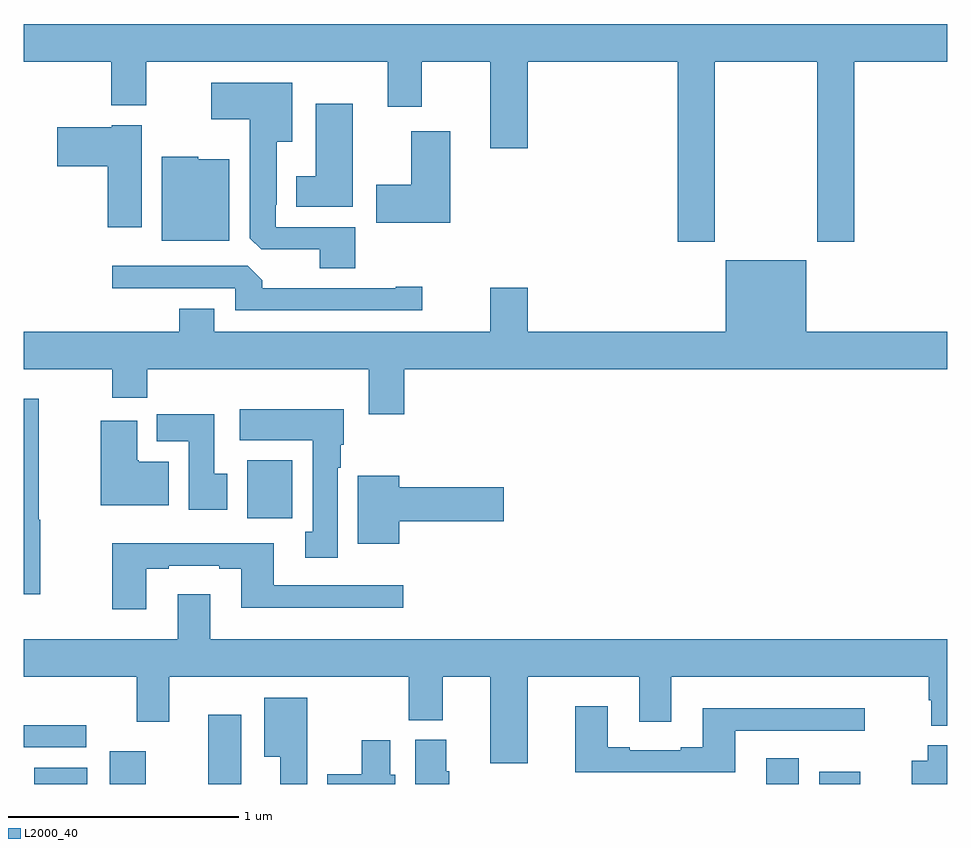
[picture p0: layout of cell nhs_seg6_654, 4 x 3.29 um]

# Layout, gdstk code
import gdstk
lib = gdstk.Library(unit=1e-6, precision=1e-09)
def R(c, l, rs):  # rectangles x0, y0, x1, y1
    for r in rs: c.add(gdstk.rectangle(r[:2], r[2:], *l))
def P(c, l, *ps):  # polygons
    for p in ps: c.add(gdstk.Polygon(p, *l))
L2000_40 = (2000, 40)

nhs_seg6_654 = lib.new_cell('nhs_seg6_654')
R(nhs_seg6_654, L2000_40, [(151.046,985.5,151.276,985.57), (151.373,985.5,151.528,985.642), (151.799,985.5,151.942,985.801), (154.217,985.5,154.357,985.612), (154.445,985.5,154.624,985.552), (151,985.659,151.27,985.755), (151.967,986.652,152.163,986.902)])
P(nhs_seg6_654, L2000_40, [(153.993,988.628),(154.438,988.628),(154.438,987.849),(154.598,987.849),(154.598,988.628),(155,988.628),(155,988.792),(151,988.792),(151,988.628),(151.379,988.628),(151.379,988.439),(151.531,988.439),(151.531,988.628),(152.576,988.628),(152.576,988.434),(152.724,988.434),(152.724,988.628),(153.02,988.628),(153.02,988.254),(153.184,988.254),(153.184,988.628),(153.833,988.628),(153.833,987.849),(153.993,987.849)],
  [(152.435,987.912),(152.091,987.912),(152.091,988.009),(152.095,988.009),(152.095,988.283),(152.164,988.283),(152.164,988.537),(151.812,988.537),(151.812,988.379),(151.979,988.379),(151.979,987.865),(152.028,987.816),(152.282,987.816),(152.282,987.733),(152.435,987.733)],
  [(152.425,988.447),(152.264,988.447),(152.264,988.132),(152.18,988.132),(152.18,988.001),(152.425,988.001)],
  [(151.51,988.354),(151.38,988.354),(151.38,988.345),(151.146,988.345),(151.146,988.175),(151.364,988.175),(151.364,987.912),(151.51,987.912)],
  [(152.848,988.327),(152.678,988.327),(152.678,988.095),(152.526,988.095),(152.526,987.932),(152.848,987.932)],
  [(151.891,988.207),(151.755,988.207),(151.755,988.216),(151.598,988.216),(151.598,987.854),(151.891,987.854)],
  [(152.648,987.296),(155,987.296),(155,987.46),(154.39,987.46),(154.39,987.769),(154.04,987.769),(154.04,987.46),(153.184,987.46),(153.184,987.649),(153.02,987.649),(153.02,987.46),(151.825,987.46),(151.825,987.559),(151.673,987.559),(151.673,987.46),(151,987.46),(151,987.296),(151.384,987.296),(151.384,987.172),(151.535,987.172),(151.535,987.296),(152.495,987.296),(152.495,987.102),(152.648,987.102)],
  [(152.725,987.653),(152.612,987.653),(152.612,987.648),(152.033,987.648),(152.033,987.682),(151.971,987.744),(151.383,987.744),(151.383,987.648),(151.917,987.648),(151.917,987.552),(152.725,987.552)],
  [(151.072,986.644),(151.064,986.644),(151.064,987.169),(151,987.169),(151,986.322),(151.072,986.322)],
  [(152.359,986.87),(152.374,986.87),(152.374,986.97),(152.386,986.97),(152.386,987.124),(151.935,987.124),(151.935,986.99),(152.252,986.99),(152.252,986.593),(152.219,986.593),(152.219,986.481),(152.359,986.481)],
  [(151.882,986.844),(151.825,986.844),(151.825,987.102),(151.577,987.102),(151.577,986.984),(151.715,986.984),(151.715,986.688),(151.882,986.688)],
  [(151.627,986.896),(151.498,986.896),(151.498,986.902),(151.492,986.902),(151.492,987.073),(151.334,987.073),(151.334,986.708),(151.627,986.708)],
  [(152.626,986.639),(153.079,986.639),(153.079,986.786),(152.626,986.786),(152.626,986.836),(152.447,986.836),(152.447,986.54),(152.626,986.54)],
  [(151.531,986.433),(151.627,986.433),(151.627,986.445),(151.847,986.445),(151.847,986.433),(151.943,986.433),(151.943,986.264),(152.644,986.264),(152.644,986.361),(152.083,986.361),(152.083,986.542),(151.384,986.542),(151.384,986.256),(151.531,986.256)],
  [(153.184,985.964),(153.665,985.964),(153.665,985.77),(153.805,985.77),(153.805,985.964),(154.919,985.964),(154.919,985.863),(154.931,985.863),(154.931,985.753),(155,985.753),(155,986.128),(151.807,986.128),(151.807,986.323),(151.667,986.323),(151.667,986.128),(151,986.128),(151,985.964),(151.49,985.964),(151.49,985.77),(151.63,985.77),(151.63,985.964),(152.668,985.964),(152.668,985.777),(152.815,985.777),(152.815,985.964),(153.02,985.964),(153.02,985.59),(153.184,985.59)],
  [(152.227,985.873),(152.042,985.873),(152.042,985.619),(152.111,985.619),(152.111,985.5),(152.227,985.5)],
  [(154.081,985.731),(154.642,985.731),(154.642,985.828),(153.941,985.828),(153.941,985.66),(153.845,985.66),(153.845,985.647),(153.625,985.647),(153.625,985.66),(153.529,985.66),(153.529,985.837),(153.389,985.837),(153.389,985.55),(154.081,985.55)],
  [(152.843,985.556),(152.83,985.556),(152.83,985.692),(152.696,985.692),(152.696,985.5),(152.843,985.5)],
  [(152.608,985.539),(152.587,985.539),(152.587,985.69),(152.465,985.69),(152.465,985.543),(152.315,985.543),(152.315,985.5),(152.608,985.5)],
  [(155,985.668),(154.916,985.668),(154.916,985.6),(154.847,985.6),(154.847,985.5),(155,985.5)])

lib.write_gds('nhs_seg6_654.gds')
